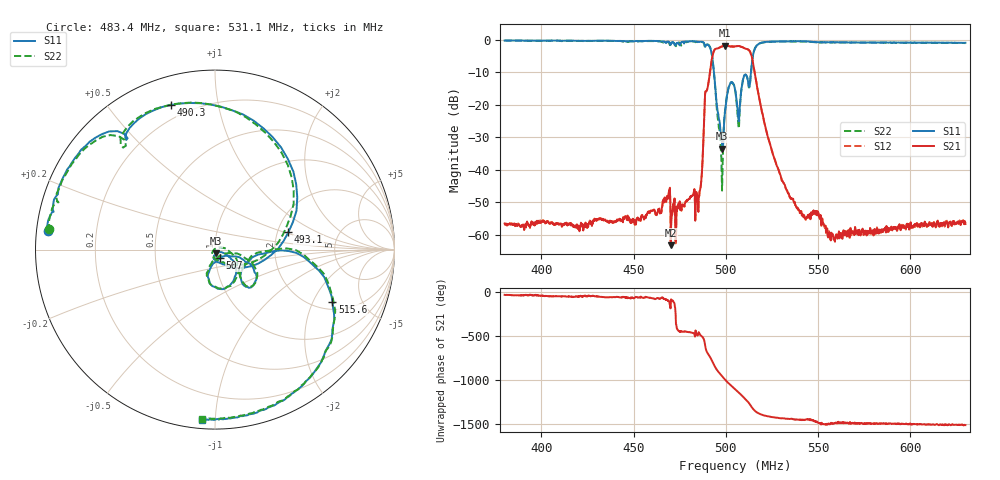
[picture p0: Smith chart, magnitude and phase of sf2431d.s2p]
!Agilent Technologies,E5070B,MY42401607,A.08.11
!Date: Tue Nov 01 11:03:55 2016
!Data & Calibration Information:
!Freq	S11:SOLT2(ON)	S31:SOLT2(ON)	S13:SOLT2(ON)	S33:SOLT2(ON)
# Hz S dB R 50
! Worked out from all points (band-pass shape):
!   1601 points, 380 MHz to 630 MHz, reference 50 ohm
!   highest |S21| = -1.82 dB at 499.7 MHz (marker M1); lowest = -63.3 dB at 470.2 MHz (marker M2)
!   |S21| within 3 dB of the highest: 492.8 MHz to 513.9 MHz (21.12 MHz wide, 4.2 % of centre)
!   lowest |S11| = -33.6 dB at 498.1 MHz (marker M3), VSWR 1.04, Z = 50.5 - j2.06 ohm
!   |S11| at or under -10 dB: 493.6 MHz to 513.7 MHz (20.09 MHz wide, 3.99 % of centre)
!   |S22| runs from -46.5 to -0.2 dB; largest |S21 - S12| = 0.0054
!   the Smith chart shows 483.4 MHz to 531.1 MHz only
!   S11 on the Smith chart (normalised r, x): 483.4 MHz: 0.03, +0.05; 490.3 MHz: 0.13, +0.73; 493.1 MHz: 2.30, +0.54; 507 MHz: 1.05, -0.10; 515.6 MHz: 2.38, -2.85; 531.1 MHz: 0.05, -0.92
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3.8e8  -0.19 -104.6  -56.60 -27.0  -56.56 -27.1  -0.21 -104.5
4.217188e8  -0.28 -119.6  -57.05 -46.5  -56.99 -44.7  -0.32 -119.8
4.634375e8  -0.37 -147.0  -52.18 -66.3  -52.19 -67.2  -0.44 -146.5
4.701562e8  -1.46 -153.7  -63.32 -140.4  -63.60 -139.1  -0.99 -152.1
4.834375e8  -0.55 173.8  -55.74 -126.0  -55.44 -123.8  -0.63 173.1
4.860938e8  -0.57 157.1  -46.14 -123.5  -46.11 -123.8  -0.61 157.6
4.903125e8  -1.49 107.0  -14.24 21.0  -14.25 20.8  -1.44 109.9
4.93125e8  -7.53 13.3  -4.15 -86.4  -4.16 -86.5  -7.46 18.6
4.95625e8  -22.18 -70.1  -2.65 -177.2  -2.63 -177.1  -24.04 -73.2
4.98125e8  -33.57 -76.4  -1.98 118.9  -1.97 119.1  -43.30 67.6
4.996875e8  -21.53 -26.5  -1.82 82.4  -1.84 82.3  -21.32 -10.0
5.023438e8  -13.58 -63.9  -2.00 27.1  -2.02 27.1  -13.54 -60.8
5.05e8  -15.21 -100.9  -2.01 -22.9  -1.99 -23.0  -15.42 -102.6
5.070312e8  -25.13 -61.0  -1.87 -62.6  -1.88 -62.8  -27.32 -54.6
5.11875e8  -12.13 -51.4  -2.94 -165.3  -2.93 -165.3  -12.13 -49.7
5.15625e8  -2.89 -24.0  -9.84 92.2  -9.83 92.2  -2.94 -22.7
5.20625e8  -0.70 -65.8  -24.73 36.2  -24.72 36.0  -0.76 -65.3
5.310938e8  -0.43 -94.5  -43.89 3.5  -43.86 3.4  -0.50 -94.3
5.467188e8  -0.57 -113.1  -54.00 -18.1  -54.06 -17.1  -0.66 -113.1
5.579688e8  -0.70 -118.7  -59.92 -60.8  -59.93 -57.4  -0.76 -119.0
5.884375e8  -0.83 -131.0  -57.94 -53.9  -58.35 -56.3  -0.87 -131.3
6.3e8  -0.91 -143.7  -56.78 -74.3  -56.50 -71.7  -0.99 -144.0
